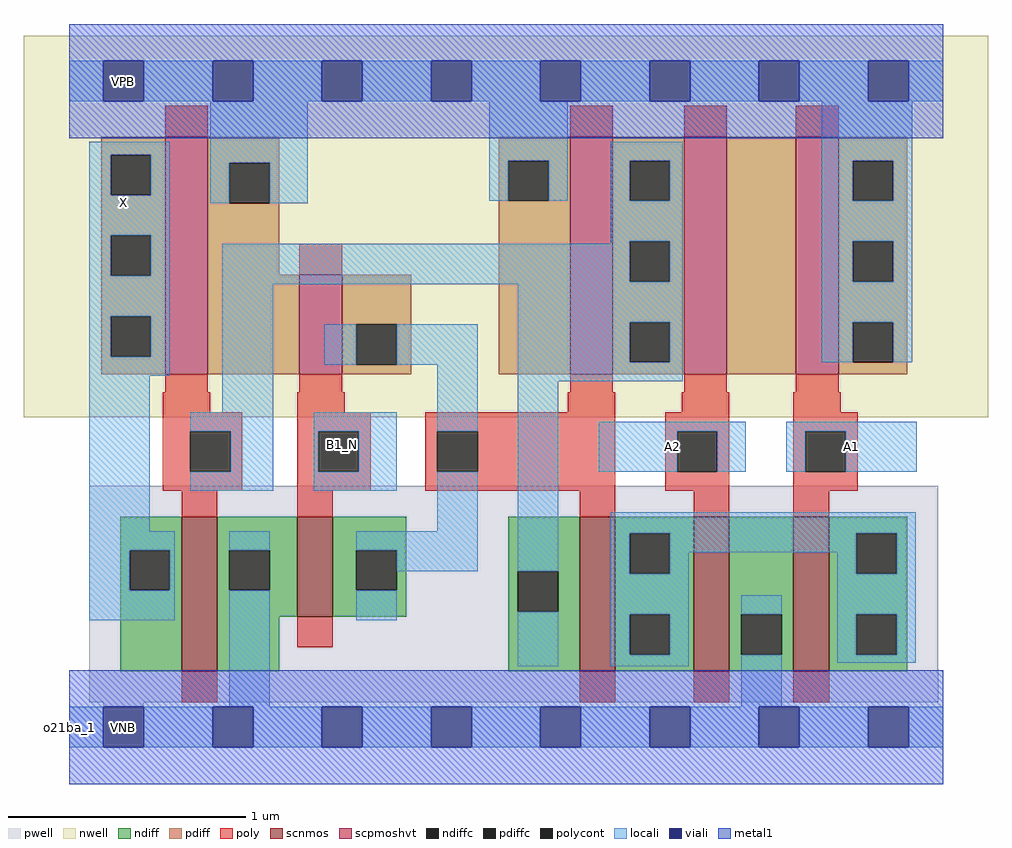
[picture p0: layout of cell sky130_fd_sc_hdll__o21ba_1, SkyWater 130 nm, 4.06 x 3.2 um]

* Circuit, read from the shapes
.subckt sky130_fd_sc_hdll__o21ba_1 A1 A2 B1_N VGND VNB VPB VPWR X
XM1 VGND n1 X VNB sky130_fd_pr__nfet_01v8 w=0.65 l=0.15
XM2 n2 B1_N VGND VNB sky130_fd_pr__nfet_01v8 w=0.42 l=0.15
XM3 n3 n2 n1 VNB sky130_fd_pr__nfet_01v8 w=0.65 l=0.15
XM4 VGND A2 n3 VNB sky130_fd_pr__nfet_01v8 w=0.65 l=0.15
XM5 n3 A1 VGND VNB sky130_fd_pr__nfet_01v8 w=0.65 l=0.15
XM6 VPWR n1 X VPB sky130_fd_pr__pfet_01v8_hvt w=1 l=0.18
XM7 n2 B1_N VPWR VPB sky130_fd_pr__pfet_01v8_hvt w=0.42 l=0.18
XM8 n1 n2 VPWR VPB sky130_fd_pr__pfet_01v8_hvt w=1 l=0.18
XM9 n4 A2 n1 VPB sky130_fd_pr__pfet_01v8_hvt w=1 l=0.18
XM10 VPWR A1 n4 VPB sky130_fd_pr__pfet_01v8_hvt w=1 l=0.18
.ends

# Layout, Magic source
magic
tech sky130A
magscale 1 2
<< nwell >>
rect -38 261 774 582
<< pwell >>
rect 17 21 732 203
rect 29 -17 63 21
<< scnmos >>
rect 95 47 125 177
rect 192 93 222 177
rect 430 47 460 177
rect 526 47 556 177
rect 610 47 640 177
<< scpmoshvt >>
rect 81 297 117 497
rect 194 297 230 381
rect 422 297 458 497
rect 518 297 554 497
rect 612 297 648 497
<< ndiff >>
rect 43 149 95 177
rect 43 115 51 149
rect 85 115 95 149
rect 43 47 95 115
rect 125 149 192 177
rect 125 115 135 149
rect 169 115 192 149
rect 125 93 192 115
rect 222 149 284 177
rect 222 115 242 149
rect 276 115 284 149
rect 222 93 284 115
rect 370 131 430 177
rect 370 97 378 131
rect 412 97 430 131
rect 125 47 177 93
rect 370 47 430 97
rect 460 163 526 177
rect 460 129 472 163
rect 506 129 526 163
rect 460 95 526 129
rect 460 61 472 95
rect 506 61 526 95
rect 460 47 526 61
rect 556 95 610 177
rect 556 61 566 95
rect 600 61 610 95
rect 556 47 610 61
rect 640 163 706 177
rect 640 129 663 163
rect 697 129 706 163
rect 640 95 706 129
rect 640 61 663 95
rect 697 61 706 95
rect 640 47 706 61
<< pdiff >>
rect 27 482 81 497
rect 27 448 35 482
rect 69 448 81 482
rect 27 414 81 448
rect 27 380 35 414
rect 69 380 81 414
rect 27 346 81 380
rect 27 312 35 346
rect 69 312 81 346
rect 27 297 81 312
rect 117 475 177 497
rect 117 441 135 475
rect 169 441 177 475
rect 117 381 177 441
rect 362 477 422 497
rect 362 443 370 477
rect 404 443 422 477
rect 117 297 194 381
rect 230 339 288 381
rect 230 305 242 339
rect 276 305 288 339
rect 230 297 288 305
rect 362 297 422 443
rect 458 477 518 497
rect 458 443 472 477
rect 506 443 518 477
rect 458 409 518 443
rect 458 375 472 409
rect 506 375 518 409
rect 458 341 518 375
rect 458 307 472 341
rect 506 307 518 341
rect 458 297 518 307
rect 554 297 612 497
rect 648 477 706 497
rect 648 443 660 477
rect 694 443 706 477
rect 648 409 706 443
rect 648 375 660 409
rect 694 375 706 409
rect 648 341 706 375
rect 648 307 660 341
rect 694 307 706 341
rect 648 297 706 307
<< ndiffc >>
rect 51 115 85 149
rect 135 115 169 149
rect 242 115 276 149
rect 378 97 412 131
rect 472 129 506 163
rect 472 61 506 95
rect 566 61 600 95
rect 663 129 697 163
rect 663 61 697 95
<< pdiffc >>
rect 35 448 69 482
rect 35 380 69 414
rect 35 312 69 346
rect 135 441 169 475
rect 370 443 404 477
rect 242 305 276 339
rect 472 443 506 477
rect 472 375 506 409
rect 472 307 506 341
rect 660 443 694 477
rect 660 375 694 409
rect 660 307 694 341
<< poly >>
rect 81 497 117 523
rect 422 497 458 523
rect 518 497 554 523
rect 612 497 648 523
rect 194 381 230 407
rect 81 282 117 297
rect 194 282 230 297
rect 422 282 458 297
rect 518 282 554 297
rect 612 282 648 297
rect 79 265 119 282
rect 192 265 232 282
rect 420 265 460 282
rect 516 265 556 282
rect 79 249 146 265
rect 79 215 102 249
rect 136 215 146 249
rect 79 199 146 215
rect 192 249 254 265
rect 192 215 210 249
rect 244 215 254 249
rect 192 199 254 215
rect 300 249 460 265
rect 300 215 310 249
rect 344 215 460 249
rect 300 199 460 215
rect 502 249 556 265
rect 502 215 512 249
rect 546 215 556 249
rect 502 199 556 215
rect 95 177 125 199
rect 192 177 222 199
rect 430 177 460 199
rect 526 177 556 199
rect 610 265 650 282
rect 610 249 664 265
rect 610 215 620 249
rect 654 215 664 249
rect 610 199 664 215
rect 610 177 640 199
rect 192 67 222 93
rect 95 21 125 47
rect 430 21 460 47
rect 526 21 556 47
rect 610 21 640 47
<< polycont >>
rect 102 215 136 249
rect 210 215 244 249
rect 310 215 344 249
rect 512 215 546 249
rect 620 215 654 249
<< locali >>
rect 0 527 29 561
rect 63 527 121 561
rect 155 527 213 561
rect 247 527 305 561
rect 339 527 397 561
rect 431 527 489 561
rect 523 527 581 561
rect 615 527 673 561
rect 707 527 736 561
rect 17 482 85 493
rect 17 448 35 482
rect 69 448 85 482
rect 17 414 85 448
rect 119 475 201 527
rect 119 441 135 475
rect 169 441 201 475
rect 354 477 420 527
rect 354 443 370 477
rect 404 443 420 477
rect 456 477 517 493
rect 456 443 472 477
rect 506 443 517 477
rect 17 380 35 414
rect 69 380 85 414
rect 456 409 517 443
rect 456 407 472 409
rect 17 346 85 380
rect 17 312 35 346
rect 69 312 85 346
rect 17 296 85 312
rect 129 375 472 407
rect 506 375 517 409
rect 129 373 517 375
rect 17 165 68 296
rect 129 265 172 373
rect 378 341 517 373
rect 215 305 242 339
rect 276 305 344 339
rect 102 249 172 265
rect 136 215 172 249
rect 102 199 172 215
rect 206 249 276 265
rect 206 215 210 249
rect 244 215 276 249
rect 206 199 276 215
rect 310 249 344 305
rect 310 165 344 215
rect 17 149 89 165
rect 17 115 51 149
rect 85 115 89 149
rect 17 90 89 115
rect 135 149 169 165
rect 135 17 169 115
rect 242 149 344 165
rect 276 131 344 149
rect 378 307 472 341
rect 506 307 517 341
rect 634 477 710 527
rect 634 443 660 477
rect 694 443 710 477
rect 634 409 710 443
rect 634 375 660 409
rect 694 375 710 409
rect 634 341 710 375
rect 634 307 660 341
rect 694 307 710 341
rect 378 291 517 307
rect 378 131 412 291
rect 446 249 570 257
rect 446 215 512 249
rect 546 215 570 249
rect 604 249 714 257
rect 604 215 620 249
rect 654 215 714 249
rect 242 90 276 115
rect 378 51 412 97
rect 456 163 713 181
rect 456 129 472 163
rect 506 147 663 163
rect 506 129 522 147
rect 456 95 522 129
rect 647 129 663 147
rect 697 129 713 163
rect 456 61 472 95
rect 506 61 522 95
rect 456 51 522 61
rect 566 95 600 111
rect 566 17 600 61
rect 647 95 713 129
rect 647 61 663 95
rect 697 61 713 95
rect 647 54 713 61
rect 0 -17 29 17
rect 63 -17 121 17
rect 155 -17 213 17
rect 247 -17 305 17
rect 339 -17 397 17
rect 431 -17 489 17
rect 523 -17 581 17
rect 615 -17 673 17
rect 707 -17 736 17
<< viali >>
rect 29 527 63 561
rect 121 527 155 561
rect 213 527 247 561
rect 305 527 339 561
rect 397 527 431 561
rect 489 527 523 561
rect 581 527 615 561
rect 673 527 707 561
rect 29 -17 63 17
rect 121 -17 155 17
rect 213 -17 247 17
rect 305 -17 339 17
rect 397 -17 431 17
rect 489 -17 523 17
rect 581 -17 615 17
rect 673 -17 707 17
<< metal1 >>
rect 0 561 736 592
rect 0 527 29 561
rect 63 527 121 561
rect 155 527 213 561
rect 247 527 305 561
rect 339 527 397 561
rect 431 527 489 561
rect 523 527 581 561
rect 615 527 673 561
rect 707 527 736 561
rect 0 496 736 527
rect 0 17 736 48
rect 0 -17 29 17
rect 63 -17 121 17
rect 155 -17 213 17
rect 247 -17 305 17
rect 339 -17 397 17
rect 431 -17 489 17
rect 523 -17 581 17
rect 615 -17 673 17
rect 707 -17 736 17
rect 0 -48 736 -17
<< labels >>
flabel locali s 213 221 247 255 0 FreeSans 400 0 0 0 B1_N
port 3 nsew signal input
flabel locali s 604 215 714 257 0 FreeSans 400 0 0 0 A1
port 1 nsew signal input
flabel locali s 29 425 63 459 0 FreeSans 400 0 0 0 X
port 8 nsew signal output
flabel locali s 446 215 570 257 0 FreeSans 400 0 0 0 A2
port 2 nsew signal input
flabel pwell s 29 -17 63 17 0 FreeSans 200 0 0 0 VNB
port 5 nsew ground bidirectional
flabel nwell s 29 527 63 561 0 FreeSans 200 0 0 0 VPB
port 6 nsew power bidirectional
flabel metal1 s 29 -17 63 17 0 FreeSans 200 0 0 0 VGND
port 4 nsew ground bidirectional
flabel metal1 s 29 527 63 561 0 FreeSans 200 0 0 0 VPWR
port 7 nsew power bidirectional
rlabel comment s 0 0 0 0 4 o21ba_1
<< properties >>
string LEFsite unithd
string LEFclass CORE
string FIXED_BBOX 0 0 736 544
string GDS_FILE $PDKPATH/libs.ref/sky130_fd_sc_hdll/gds/sky130_fd_sc_hdll.gds
string LEFsymmetry X Y R90
string GDS_END 2436256
string GDS_START 2430024
string LEFproperties maskLayoutSubType "abstract" prCellType "standard" originalViewName "layout"
<< end >>
